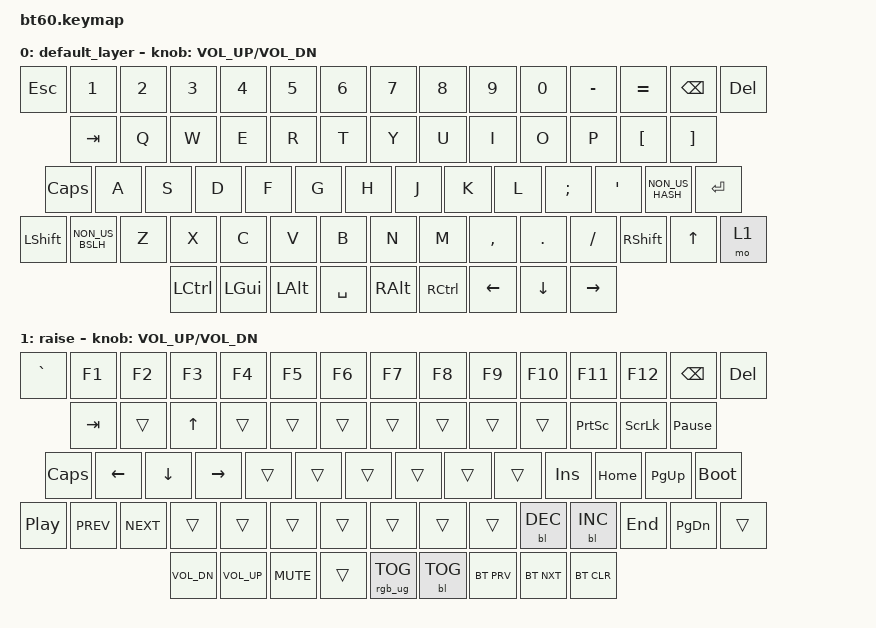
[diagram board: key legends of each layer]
#include <behaviors.dtsi>
#include <dt-bindings/zmk/keys.h>
#include <dt-bindings/zmk/bt.h>
#include <dt-bindings/zmk/rgb.h>
#include <dt-bindings/zmk/backlight.h>

/ {
	keymap {
		compatible = "zmk,keymap";

		default_layer {
				// ------------------------------------------------------------------------------------------
				// |  `  |  1  |  2  |  3  |  4  |  5  |  6  |  7  |  8  |  9  |  0  |  -  |  =  | BKSP | DEL |
				// |  TAB  |  Q  |  W  |  E  |  R  |  T  |  Y  |  U  |  I  |  O  |  P  |  [  |  ]  |         |
				// |  CAPS   |  A  |  S  |  D  |  F  |  G  |  H  |  J  |  K  |  L  |  ;  |  '  |  #  | ENTER |
				// | SHIFT | \  |  Z  |  X  |  C  |  V  |  B  |  N  |  M  |  ,  |  .  |  /  | SHIFT | UP | 1 |
				// |  CTL  |  WIN  |  ALT  |            SPACE              | ALT | CTL | LEFT | DOWN | RIGHT |
				// ------------------------------------------------------------------------------------------
			bindings = <

				&kp ESC &kp N1 &kp N2 &kp N3 &kp N4 &kp N5 &kp N6 &kp N7 &kp  N8   &kp  N9 &kp  N0  &kp MINUS &kp EQUAL &kp BSPC &kp DEL
				&kp TAB  &kp Q  &kp W  &kp E  &kp R  &kp T  &kp Y  &kp U  &kp  I    &kp  O  &kp  P   &kp LBKT &kp RBKT
				&kp CAPS  &kp A  &kp S  &kp D  &kp F  &kp G  &kp H  &kp J  &kp  K    &kp  L  &kp SEMI &kp SQT &kp NON_US_HASH  &kp RET
				&kp LSHFT &kp NON_US_BSLH &kp Z  &kp X  &kp C  &kp V  &kp B  &kp N  &kp M  &kp COMMA &kp DOT &kp FSLH &kp RSHFT &kp UP &mo 1
				&kp LCTRL &kp LGUI &kp LALT            &kp SPACE                &kp RALT  &kp RCTRL  &kp LEFT  &kp DOWN  &kp RIGHT
			>;
			sensor-bindings = <&inc_dec_kp C_VOL_UP C_VOL_DN>;
		};
		raise {
			bindings = <
				&kp GRAVE &kp F1 &kp F2 &kp F3 &kp F4 &kp F5 &kp F6 &kp F7 &kp F8 &kp F9 &kp F10 &kp F11 &kp F12 &kp BSPC &kp DEL
				&kp TAB &trans &kp UP &trans &trans &trans &trans &trans &trans &trans &kp PSCRN &kp SLCK &kp PAUSE_BREAK
				&kp CAPS &kp LEFT &kp DOWN &kp RIGHT &trans &trans &trans &trans &trans &trans &kp INS &kp HOME  &kp PG_UP &bootloader
				&kp C_PP &kp C_PREV &kp C_NEXT &trans &trans &trans &trans &trans &trans &trans &bl BL_DEC &bl BL_INC &kp END &kp PG_DN &trans
				&kp C_VOL_DN  &kp C_VOL_UP  &kp C_MUTE                      &trans                  &rgb_ug RGB_TOG &bl BL_TOG &bt BT_PRV &bt BT_NXT &bt BT_CLR  
			>;
			sensor-bindings = <&inc_dec_kp C_VOL_UP C_VOL_DN>;
		};
	};
};
